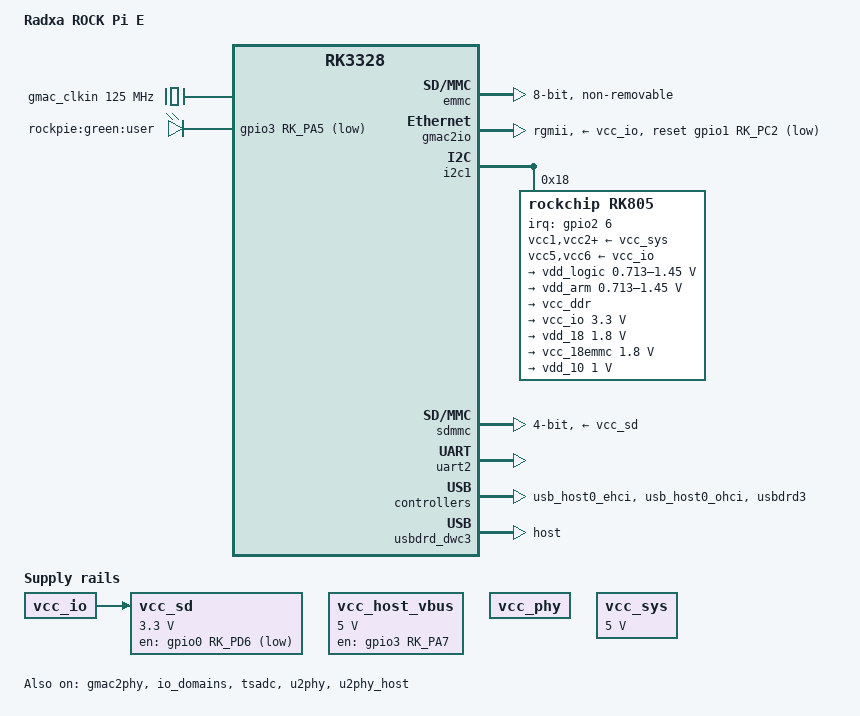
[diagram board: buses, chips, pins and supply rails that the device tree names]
// SPDX-License-Identifier: (GPL-2.0+ or MIT)
/*
 * Copyright (c) 2016 Fuzhou Rockchip Electronics Co., Ltd
 * Copyright (c) 2020 Jayantajit Gogoi <jayanta.gogoi525@gmail.com>
 */

/dts-v1/;
#include <dt-bindings/input/input.h>
#include <dt-bindings/gpio/gpio.h>
#include "rk3328.dtsi"

/ {
	model = "Radxa ROCK Pi E";
	compatible = "radxa,rock-pi-e", "rockchip,rk3328";

	chosen {
		stdout-path = "serial2:1500000n8";
	};

	gmac_clkin: external-gmac-clock {
		compatible = "fixed-clock";
		clock-frequency = <125000000>;
		clock-output-names = "gmac_clkin";
		#clock-cells = <0>;
	};

	leds {
		compatible = "gpio-leds";

        pinctrl-names = "default";
		pinctrl-0 = <&led_pins>;

		user {
			gpios = <&gpio3 RK_PA5 GPIO_ACTIVE_LOW>;
			label = "rockpie:green:user";
		};
	};

	vcc_host_vbus: host-vbus-regulator {
		compatible = "regulator-fixed";
		enable-active-high;
		gpio = <&gpio3 RK_PA7 GPIO_ACTIVE_HIGH>;
		pinctrl-names = "default";
		pinctrl-0 = <&host_vbus_drv>;
		regulator-always-on;
		regulator-boot-on;
		regulator-name = "vcc_host_vbus";
		regulator-min-microvolt = <5000000>;
		regulator-max-microvolt = <5000000>;
	};

	vcc_phy: vcc-phy-regulator {
		compatible = "regulator-fixed";
		regulator-name = "vcc_phy";
		regulator-always-on;
		regulator-boot-on;
	};

	vcc_sd: sdmmc-regulator {
		compatible = "regulator-fixed";
		gpio = <&gpio0 RK_PD6 GPIO_ACTIVE_LOW>;
		pinctrl-names = "default";
		pinctrl-0 = <&sdmmc0m1_gpio>;
		regulator-boot-on;
		regulator-name = "vcc_sd";
		regulator-min-microvolt = <3300000>;
		regulator-max-microvolt = <3300000>;
		vin-supply = <&vcc_io>;
	};

	vcc_sys: vcc-sys {
		compatible = "regulator-fixed";
		regulator-name = "vcc_sys";
		regulator-always-on;
		regulator-boot-on;
		regulator-min-microvolt = <5000000>;
		regulator-max-microvolt = <5000000>;
	};
};

&cpu0 {
	cpu-supply = <&vdd_arm>;
};

&cpu1 {
	cpu-supply = <&vdd_arm>;
};

&cpu2 {
	cpu-supply = <&vdd_arm>;
};

&cpu3 {
	cpu-supply = <&vdd_arm>;
};

&emmc {
	bus-width = <8>;
	cap-mmc-highspeed;
	disable-wp;
	mmc-hs200-1_8v;
	non-removable;
	num-slots = <1>;
	pinctrl-names = "default";
	pinctrl-0 = <&emmc_clk &emmc_cmd &emmc_bus8>;
	supports-emmc;
	status = "okay";
};

&gmac2io {
	assigned-clocks = <&cru SCLK_MAC2IO>, <&cru SCLK_MAC2IO_EXT>;
	assigned-clock-parents = <&gmac_clkin>, <&gmac_clkin>;
	clock_in_out = "input";
	phy-supply = <&vcc_io>;
	phy-mode = "rgmii";
	pinctrl-names = "default";
	pinctrl-0 = <&rgmiim1_pins>;
	snps,reset-gpio = <&gpio1 RK_PC2 GPIO_ACTIVE_LOW>;
	snps,reset-active-low;
	snps,reset-delays-us = <0 10000 50000>;
	tx_delay = <0x26>;
	rx_delay = <0x11>;
	status = "okay";
};

&gmac2phy {
	assigned-clocks = <&cru SCLK_MAC2PHY>, <&cru SCLK_MAC2PHY_SRC>;
	assigned-clock-parents = <&cru SCLK_MAC2PHY_SRC>;
	assigned-clock-rate = <50000000>;
	clock_in_out = "output";
	phy-supply = <&vcc_phy>;
	status = "okay";
};

&i2c1 {
	status = "okay";

	rk805: rk805@18 {
		compatible = "rockchip,rk805";
		reg = <0x18>;
		interrupt-parent = <&gpio2>;
		interrupts = <6 IRQ_TYPE_LEVEL_LOW>;
		#clock-cells = <1>;
		clock-output-names = "xin32k", "rk805-clkout2";
		gpio-controller;
		#gpio-cells = <2>;
		pinctrl-names = "default";
		pinctrl-0 = <&pmic_int_l>;
		rockchip,system-power-controller;
		wakeup-source;

		vcc1-supply = <&vcc_sys>;
		vcc2-supply = <&vcc_sys>;
		vcc3-supply = <&vcc_sys>;
		vcc4-supply = <&vcc_sys>;
		vcc5-supply = <&vcc_io>;
		vcc6-supply = <&vcc_io>;

		regulators {
			vdd_logic: DCDC_REG1 {
				regulator-name = "vdd_logic";
				regulator-min-microvolt = <712500>;
				regulator-max-microvolt = <1450000>;
				regulator-ramp-delay = <12500>;
				regulator-boot-on;
				regulator-always-on;
				regulator-state-mem {
					regulator-on-in-suspend;
					regulator-suspend-microvolt = <1000000>;
				};
			};

			vdd_arm: DCDC_REG2 {
				regulator-name = "vdd_arm";
				regulator-min-microvolt = <712500>;
				regulator-max-microvolt = <1450000>;
				regulator-ramp-delay = <12500>;
				regulator-boot-on;
				regulator-always-on;
				regulator-state-mem {
					regulator-on-in-suspend;
					regulator-suspend-microvolt = <950000>;
				};
			};

			vcc_ddr: DCDC_REG3 {
				regulator-name = "vcc_ddr";
				regulator-boot-on;
				regulator-always-on;
				regulator-state-mem {
					regulator-on-in-suspend;
				};
			};

			vcc_io: DCDC_REG4 {
				regulator-name = "vcc_io";
				regulator-min-microvolt = <3300000>;
				regulator-max-microvolt = <3300000>;
				regulator-boot-on;
				regulator-always-on;
				regulator-state-mem {
					regulator-on-in-suspend;
					regulator-suspend-microvolt = <3300000>;
				};
			};

			vdd_18: LDO_REG1 {
				regulator-name = "vdd_18";
				regulator-min-microvolt = <1800000>;
				regulator-max-microvolt = <1800000>;
				regulator-boot-on;
				regulator-always-on;
				regulator-state-mem {
					regulator-on-in-suspend;
					regulator-suspend-microvolt = <1800000>;
				};
			};

			vcc_18emmc: LDO_REG2 {
				regulator-name = "vcc_18emmc";
				regulator-min-microvolt = <1800000>;
				regulator-max-microvolt = <1800000>;
				regulator-boot-on;
				regulator-always-on;
				regulator-state-mem {
					regulator-on-in-suspend;
					regulator-suspend-microvolt = <1800000>;
				};
			};

			vdd_10: LDO_REG3 {
				regulator-name = "vdd_10";
				regulator-min-microvolt = <1000000>;
				regulator-max-microvolt = <1000000>;
				regulator-boot-on;
				regulator-always-on;
				regulator-state-mem {
					regulator-on-in-suspend;
					regulator-suspend-microvolt = <1000000>;
				};
			};
		};
	};
};

&io_domains {
	status = "okay";

	vccio1-supply = <&vcc_io>;
	vccio2-supply = <&vcc_18emmc>;
	vccio3-supply = <&vcc_io>;
	vccio4-supply = <&vcc_io>;
	vccio5-supply = <&vcc_io>;
	vccio6-supply = <&vcc_io>;
	pmuio-supply = <&vcc_io>;
};

&pinctrl {
	leds {
		led_pins: led-pins {
			rockchip,pins = <3 RK_PA5 RK_FUNC_GPIO &pcfg_pull_none>;
		};
	};

	pmic {
		pmic_int_l: pmic-int-l {
			rockchip,pins = <2 RK_PA6 RK_FUNC_GPIO &pcfg_pull_up>;
		};
	};

	usb {
		host_vbus_drv: host-vbus-drv {
			rockchip,pins = <3 RK_PA7 RK_FUNC_GPIO &pcfg_pull_none>;
		};
	};
};

&sdmmc {
	bus-width = <4>;
	cap-mmc-highspeed;
	cap-sd-highspeed;
	disable-wp;
	max-frequency = <150000000>;
	num-slots = <1>;
	pinctrl-names = "default";
	pinctrl-0 = <&sdmmc0_clk &sdmmc0_cmd &sdmmc0_dectn &sdmmc0_bus4>;
	supports-sd;
	vmmc-supply = <&vcc_sd>;
	status = "okay";
};

&tsadc {
	rockchip,hw-tshut-mode = <1>;
	rockchip,hw-tshut-polarity = <1>;
	status = "okay";
};

&u2phy {
	status = "okay";
};

&u2phy_host {
	status = "okay";
};

&uart2 {
	status = "okay";
};

&usb_host0_ehci {
	status = "okay";
};

&usb_host0_ohci {
	status = "okay";
};

&usbdrd3 {
	status = "okay";
};

&usbdrd_dwc3 {
	dr_mode = "host";
	status = "okay";
};
